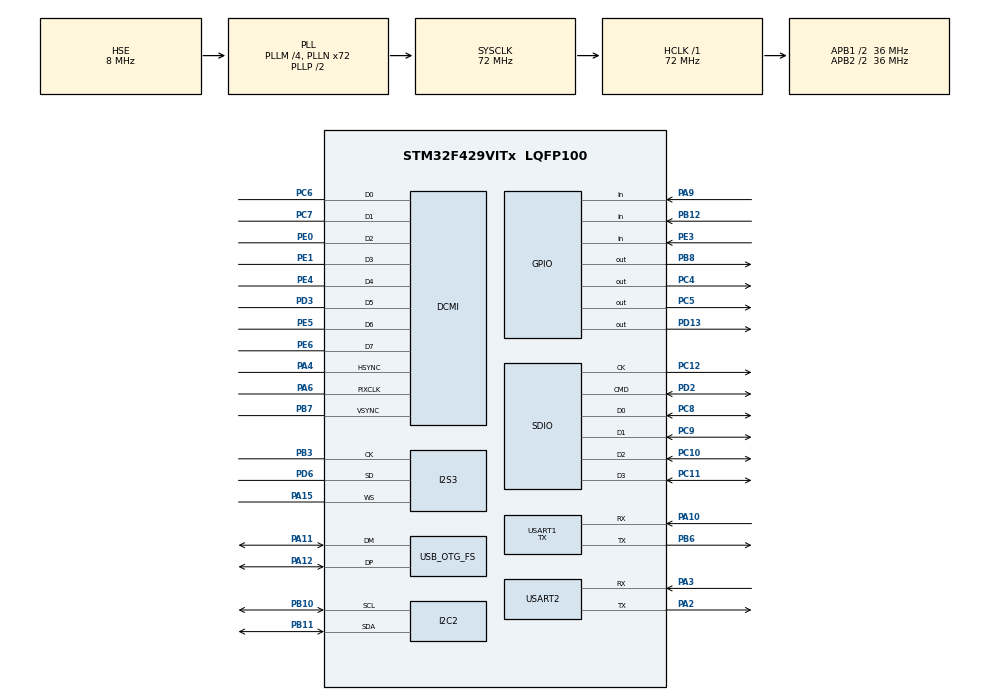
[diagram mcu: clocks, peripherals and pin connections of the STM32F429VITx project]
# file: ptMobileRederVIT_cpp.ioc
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DCMI.JPEGMode=DCMI_JPEG_ENABLE
DCMI.PCKPolarity=DCMI_PCKPOLARITY_RISING
Dma.DCMI.1.Direction=DMA_PERIPH_TO_MEMORY
Dma.DCMI.1.FIFOMode=DMA_FIFOMODE_DISABLE
Dma.DCMI.1.Instance=DMA2_Stream1
Dma.DCMI.1.MemDataAlignment=DMA_MDATAALIGN_WORD
Dma.DCMI.1.MemInc=DMA_MINC_ENABLE
Dma.DCMI.1.Mode=DMA_CIRCULAR
Dma.DCMI.1.PeriphDataAlignment=DMA_PDATAALIGN_WORD
Dma.DCMI.1.PeriphInc=DMA_PINC_DISABLE
Dma.DCMI.1.Priority=DMA_PRIORITY_VERY_HIGH
Dma.Request0=SPI3_RX
Dma.Request1=DCMI
Dma.SPI3_RX.0.Direction=DMA_PERIPH_TO_MEMORY
Dma.SPI3_RX.0.FIFOMode=DMA_FIFOMODE_DISABLE
Dma.SPI3_RX.0.Instance=DMA1_Stream0
Dma.SPI3_RX.0.MemDataAlignment=DMA_MDATAALIGN_HALFWORD
Dma.SPI3_RX.0.MemInc=DMA_MINC_ENABLE
Dma.SPI3_RX.0.Mode=DMA_CIRCULAR
Dma.SPI3_RX.0.PeriphDataAlignment=DMA_PDATAALIGN_HALFWORD
Dma.SPI3_RX.0.PeriphInc=DMA_PINC_DISABLE
Dma.SPI3_RX.0.Priority=DMA_PRIORITY_LOW
FATFS._USE_FIND=1
FATFS._USE_LFN=1
I2S3.AudioFreq=I2S_AUDIOFREQ_32K
I2S3.CPOL=I2S_CPOL_HIGH
I2S3.DataFormat=I2S_DATAFORMAT_16B
I2S3.ErrorAudioFreq=-0.35 %
I2S3.FullDuplexMode=I2S_FULLDUPLEXMODE_DISABLE
I2S3.Instance=SPI$Index
I2S3.Mode=I2S_MODE_MASTER_RX
I2S3.RealAudioFreq=31.887 KHz
I2S3.Standard=I2S_STANDARD_LSB
I2S3.VirtualMode=I2S_MODE_MASTER
Mcu.Family=STM32F4
Mcu.Name=STM32F429VITx
Mcu.Package=LQFP100
NVIC.DCMI_IRQn=true\:0\:0\:false\:false\:true\:true\:true
NVIC.DMA1_Stream0_IRQn=true\:0\:0\:false\:false\:true\:false\:true
NVIC.DMA2_Stream1_IRQn=true\:0\:0\:false\:false\:true\:false\:true
NVIC.OTG_FS_IRQn=true\:4\:0\:true\:false\:true\:true\:true
NVIC.PriorityGroup=NVIC_PRIORITYGROUP_4
NVIC.SDIO_IRQn=true\:9\:0\:true\:false\:true\:true\:true
NVIC.SPI3_IRQn=true\:5\:0\:true\:false\:true\:true\:true
NVIC.TIM6_DAC_IRQn=true\:10\:0\:true\:false\:true\:true\:true
NVIC.TIM7_IRQn=true\:10\:0\:true\:false\:true\:true\:true
NVIC.USART1_IRQn=true\:0\:0\:false\:false\:true\:true\:true
PA0/WKUP.Mode=SYS_WakeUp0
PA0/WKUP.Signal=SYS_WKUP
PA10.Mode=Asynchronous
PA10.Signal=USART1_RX
PA11.Mode=Device_Only
PA11.Signal=USB_OTG_FS_DM
PA12.Mode=Device_Only
PA12.Signal=USB_OTG_FS_DP
PA13.Mode=Serial_Wire
PA13.Signal=SYS_JTMS-SWDIO
PA14.Mode=Serial_Wire
PA14.Signal=SYS_JTCK-SWCLK
PA15.Mode=Half_Duplex_Master
PA15.Signal=I2S3_WS
PA2.GPIO_PuPd=GPIO_NOPULL
PA2.Mode=Asynchronous
PA2.Signal=USART2_TX
PA3.GPIO_PuPd=GPIO_NOPULL
PA3.Mode=Asynchronous
PA3.Signal=USART2_RX
PA4.Mode=Slave_8_bits_External_Synchro
PA4.Signal=DCMI_HSYNC
PA6.Mode=Slave_8_bits_External_Synchro
PA6.Signal=DCMI_PIXCLK
PA9.Signal=GPIO_Input
PB10.Mode=I2C
PB10.Signal=I2C2_SCL
PB11.Mode=I2C
PB11.Signal=I2C2_SDA
PB12.GPIO_PuPd=GPIO_PULLUP
PB12.Signal=GPIO_Input
PB3.Mode=Half_Duplex_Master
PB3.Signal=I2S3_CK
PB6.Mode=Asynchronous
PB6.Signal=USART1_TX
PB7.Mode=Slave_8_bits_External_Synchro
PB7.Signal=DCMI_VSYNC
PB8.GPIO_PuPd=GPIO_NOPULL
PB8.Signal=GPIO_Output
PC10.Mode=SD_4_bits_Wide_bus
PC10.Signal=SDIO_D2
PC11.Mode=SD_4_bits_Wide_bus
PC11.Signal=SDIO_D3
PC12.Mode=SD_4_bits_Wide_bus
PC12.Signal=SDIO_CK
PC14/OSC32_IN.Mode=LSE-External-Oscillator
PC14/OSC32_IN.Signal=RCC_OSC32_IN
PC15/OSC32_OUT.Mode=LSE-External-Oscillator
PC15/OSC32_OUT.Signal=RCC_OSC32_OUT
PC4.Signal=GPIO_Output
PC5.Signal=GPIO_Output
PC6.Mode=Slave_8_bits_External_Synchro
PC6.Signal=DCMI_D0
PC7.Mode=Slave_8_bits_External_Synchro
PC7.Signal=DCMI_D1
PC8.Mode=SD_4_bits_Wide_bus
PC8.Signal=SDIO_D0
PC9.Mode=SD_4_bits_Wide_bus
PC9.Signal=SDIO_D1
PD13.Signal=GPIO_Output
PD2.Mode=SD_4_bits_Wide_bus
PD2.Signal=SDIO_CMD
PD3.Mode=Slave_8_bits_External_Synchro
PD3.Signal=DCMI_D5
PD6.Mode=Half_Duplex_Master
PD6.Signal=I2S3_SD
PDM2PCM.CHANNEL1_decimation_factor=PDM_FILTER_DEC_FACTOR_128
PDM2PCM.CHANNEL1_high_pass_tap=1717986918
PDM2PCM.CHANNEL1_in_ptr_channels=1
PDM2PCM.CHANNEL1_mic_gain=30
PDM2PCM.CHANNEL1_out_ptr_channels=1
PDM2PCM.CHANNEL1_output_samples_number=48
PE0.Mode=Slave_8_bits_External_Synchro
PE0.Signal=DCMI_D2
PE1.Mode=Slave_8_bits_External_Synchro
PE1.Signal=DCMI_D3
PE3.GPIO_PuPd=GPIO_PULLUP
PE3.Signal=GPIO_Input
PE4.Mode=Slave_8_bits_External_Synchro
PE4.Signal=DCMI_D4
PE5.Mode=Slave_8_bits_External_Synchro
PE5.Signal=DCMI_D6
PE6.Mode=Slave_8_bits_External_Synchro
PE6.Signal=DCMI_D7
PH0/OSC_IN.Mode=HSE-External-Oscillator
PH0/OSC_IN.Signal=RCC_OSC_IN
PH1/OSC_OUT.Mode=HSE-External-Oscillator
PH1/OSC_OUT.Signal=RCC_OSC_OUT
ProjectManager.HeapSize=0x1000
ProjectManager.StackSize=0x1000
ProjectManager.TargetToolchain=STM32CubeIDE
RCC.48MHZClocksFreq_Value=48000000
RCC.AHBFreq_Value=72000000
RCC.APB1CLKDivider=RCC_HCLK_DIV2
RCC.APB1Freq_Value=36000000
RCC.APB1TimFreq_Value=72000000
RCC.APB2CLKDivider=RCC_HCLK_DIV2
RCC.APB2Freq_Value=36000000
RCC.APB2TimFreq_Value=72000000
RCC.CortexFreq_Value=72000000
RCC.HCLKFreq_Value=72000000
RCC.HSE_VALUE=8000000
RCC.HSI_VALUE=16000000
RCC.PLLI2SN=50
RCC.PLLM=4
RCC.PLLN=72
RCC.PLLQ=3
RCC.RCC_RTC_Clock_Source=RCC_RTCCLKSOURCE_LSE
RCC.RCC_RTC_Clock_SourceVirtual=RCC_RTCCLKSOURCE_LSE
RCC.SYSCLKFreq_VALUE=72000000
RCC.SYSCLKSource=RCC_SYSCLKSOURCE_PLLCLK
RCC.VCOOutputFreq_Value=144000000
RTC.SynchPrediv=255
SDIO.ClockDiv=9
TIM6.Period=50000
TIM6.Prescaler=28799
TIM7.Period=24000
TIM7.Prescaler=2
USART1.Mode=MODE_TX
USART1.VirtualMode=VM_ASYNC
USART2.VirtualMode=VM_ASYNC
USB_DEVICE.CLASS_NAME_FS=MSC
USB_DEVICE.USBD_SELF_POWERED-MSC_FS=0
USB_DEVICE.VirtualMode-MSC_FS=Msc
USB_DEVICE.VirtualModeFS=Msc_FS
USB_OTG_FS.VirtualMode=Device_Only
VP_CRC_VS_CRC.Mode=CRC_Activate
VP_FATFS_VS_SDIO.Mode=SDIO
VP_PDM2PCM_VS_PDM2PCM.Mode=PDM2PCM_Channel
VP_RTC_VS_RTC_Activate.Mode=RTC_Enabled
VP_RTC_VS_RTC_Calendar.Mode=RTC_Calendar
VP_TIM6_VS_ClockSourceINT.Mode=Enable_Timer
VP_TIM7_VS_ClockSourceINT.Mode=Enable_Timer
VP_USB_DEVICE_VS_USB_DEVICE_MSC_FS.Mode=MSC_FS
board=custom

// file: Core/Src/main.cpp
/* USER CODE BEGIN Header */
/**
  ******************************************************************************
  * @file           : main.c
  * @brief          : Main program body
  ******************************************************************************
  * @attention
  *
  * <h2><center>&copy; Copyright (c) 2021 STMicroelectronics.
  * All rights reserved.</center></h2>
  *
  * This software component is licensed by ST under Ultimate Liberty license
  * SLA0044, the "License"; You may not use this file except in compliance with
  * the License. You may obtain a copy of the License at:
  *                             www.st.com/SLA0044
  *
  ******************************************************************************
  */
/* USER CODE END Header */

#include "main.h"
#include "crc.h"
#include "dcmi.h"
#include "dma.h"
#include "fatfs.h"
#include "i2c.h"
#include "i2s.h"
//#include "iwdg.h"
#include "pdm2pcm.h"
#include "rtc.h"
#include "sdio.h"
#include "tim.h"
#include "usart.h"
#include "usb_device.h"
#include "gpio.h"

/* USER CODE BEGIN Includes */
#include "TCommon.hpp"
/* USER CODE END Includes */

void SystemClock_Config(void);

int main(void)
{

  /* MCU Configuration--------------------------------------------------------*/

  /* Reset of all peripherals, Initializes the Flash interface and the Systick. */
  HAL_Init();

  /* Configure the system clock */
  SystemClock_Config();

  /* Initialize all configured peripherals */
  MX_GPIO_Init();
  MX_DMA_Init();
  MX_RTC_Init();
  MX_TIM7_Init();
  MX_USART1_UART_Init();
  MX_I2C2_Init();
  MX_USART2_UART_Init();
  MX_CRC_Init();
  MX_I2S3_Init();
  MX_SDIO_SD_Init();
  MX_FATFS_Init();
  MX_PDM2PCM_Init();
  MX_USB_DEVICE_Init();
  MX_DCMI_Init();
  MX_TIM6_Init();
  /* USER CODE BEGIN 2 */

  HAL_PWR_EnableBkUpAccess() ;						// Чтобы не взрывать себе мозги, доступ к backup регистрам открываем навсегда
  if(__HAL_PWR_GET_FLAG(PWR_FLAG_WU) == false) {
//	  HAL_RTCEx_BKUPWrite(&hrtc, RTC_BKP_DR1, 0x0) ;	// При первоначальном запуске контроллера всегда чистим RTC_BKP_DR1, для того что бы правильно вести лог
	  HAL_RTCEx_BKUPWrite(&hrtc, RTC_BKP_DR2, 0x0) ;	//   и RTC_BKP_DR2, что бы не глючила блокировка частой установки/снятия на докстанцию.
  }

  common::app = std::make_unique <app::TApplication> () ;		// Если при запуске были какие-то ошибки по работе периферии, то сразу же тупо проваливаемся в менеджер

//  common::app -> debugMessage ("Time now: " + common::app -> getMessageTime ()) ;  // Перенести эту херню в конструктор TApplication
  if (common::app -> getState().first == app::appState::appUnknown) {
  	  	  	  	  	  	  	  	  	  	  	  	  	  // Проверяю был ли первоначальный запуск или выход из режима StandBy
      if(__HAL_PWR_GET_FLAG(PWR_FLAG_WU)) {
	      __HAL_PWR_CLEAR_FLAG(PWR_FLAG_WU);			  // Очищаем флаг выхода из режима StandBy
	      HAL_PWR_DisableWakeUpPin(PWR_WAKEUP_PIN1) ;
//	      common::app -> debugMessage (app::appState::appReady) ;
	      common::app -> setState (app::appState::appReady) ;
//	      common::app -> setState (app::appState::appStartBounce) ;
      }
        else {
           common::app -> debugMessage (app::appState::appStarted) ;
    	   common::app -> checkUnits () ;					// При первоначальном запуске проверяем оборудование
#ifdef DEBUG
    	   common::app -> setState (app::appState::appStartBounce) ;	// в режиме отладчика Запускаем устранения дребезга контактов и определения нажатых кнопок
//    	   common::app -> setState (app::appState::appPhoto) ;
#else
    	   common::app -> setState (app::appState::appStandBy) ;
#endif /* DEBUG */
        }
  }
  /* USER CODE END 2 */

  /* Infinite loop */
  /* USER CODE BEGIN WHILE */

  HAL_TIM_Base_Start_IT (&htim7) ;
  HAL_TIM_Base_Start_IT (&htim6) ;

  while (1) {
	  common::app -> stateManager () ;

    /* USER CODE END WHILE */

  }
}

void SystemClock_Config(void)
{
  RCC_OscInitTypeDef RCC_OscInitStruct = {0};
  RCC_ClkInitTypeDef RCC_ClkInitStruct = {0};
  RCC_PeriphCLKInitTypeDef PeriphClkInitStruct = {0};

  /** Configure the main internal regulator output voltage
  */
  __HAL_RCC_PWR_CLK_ENABLE();
  __HAL_PWR_VOLTAGESCALING_CONFIG(PWR_REGULATOR_VOLTAGE_SCALE3);
  /** Initializes the CPU, AHB and APB busses clocks
  */
  RCC_OscInitStruct.OscillatorType = RCC_OSCILLATORTYPE_LSI|RCC_OSCILLATORTYPE_HSE
                              |RCC_OSCILLATORTYPE_LSE;
  RCC_OscInitStruct.HSEState = RCC_HSE_ON;
  RCC_OscInitStruct.LSEState = RCC_LSE_ON;
  RCC_OscInitStruct.LSIState = RCC_LSI_ON;
  RCC_OscInitStruct.PLL.PLLState = RCC_PLL_ON;
  RCC_OscInitStruct.PLL.PLLSource = RCC_PLLSOURCE_HSE;
  RCC_OscInitStruct.PLL.PLLM = 4;
  RCC_OscInitStruct.PLL.PLLN = 72;
  RCC_OscInitStruct.PLL.PLLP = RCC_PLLP_DIV2;
  RCC_OscInitStruct.PLL.PLLQ = 3;
  if (HAL_RCC_OscConfig(&RCC_OscInitStruct) != HAL_OK)
  {
    Error_Handler();
  }
  /** Initializes the CPU, AHB and APB busses clocks
  */
  RCC_ClkInitStruct.ClockType = RCC_CLOCKTYPE_HCLK|RCC_CLOCKTYPE_SYSCLK
                              |RCC_CLOCKTYPE_PCLK1|RCC_CLOCKTYPE_PCLK2;
  RCC_ClkInitStruct.SYSCLKSource = RCC_SYSCLKSOURCE_PLLCLK;
  RCC_ClkInitStruct.AHBCLKDivider = RCC_SYSCLK_DIV1;
  RCC_ClkInitStruct.APB1CLKDivider = RCC_HCLK_DIV2;
  RCC_ClkInitStruct.APB2CLKDivider = RCC_HCLK_DIV2;

  if (HAL_RCC_ClockConfig(&RCC_ClkInitStruct, FLASH_LATENCY_2) != HAL_OK)
  {
    Error_Handler();
  }
  PeriphClkInitStruct.PeriphClockSelection = RCC_PERIPHCLK_I2S|RCC_PERIPHCLK_RTC;
  PeriphClkInitStruct.PLLI2S.PLLI2SN = 50;
  PeriphClkInitStruct.PLLI2S.PLLI2SR = 2;
  PeriphClkInitStruct.RTCClockSelection = RCC_RTCCLKSOURCE_LSE;
  if (HAL_RCCEx_PeriphCLKConfig(&PeriphClkInitStruct) != HAL_OK)
  {
    Error_Handler();
  }
}

void Error_Handler(void)
{
}

/************************ (C) COPYRIGHT STMicroelectronics *****END OF FILE****/
